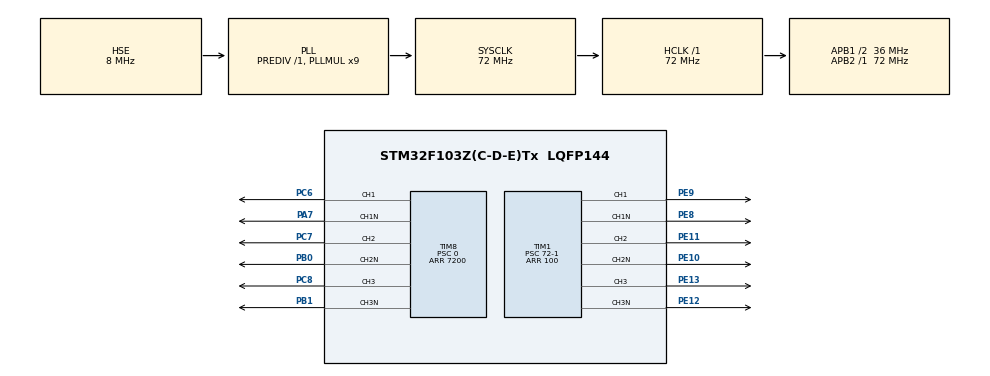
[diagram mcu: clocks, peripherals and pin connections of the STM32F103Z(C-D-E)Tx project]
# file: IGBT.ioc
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Mcu.Family=STM32F1
Mcu.Name=STM32F103Z(C-D-E)Tx
Mcu.Package=LQFP144
NVIC.PriorityGroup=NVIC_PRIORITYGROUP_4
NVIC.TIM8_UP_IRQn=true\:1\:0\:true\:false\:true\:true\:true
OSC_IN.Mode=HSE-External-Oscillator
OSC_IN.Signal=RCC_OSC_IN
OSC_OUT.Mode=HSE-External-Oscillator
OSC_OUT.Signal=RCC_OSC_OUT
PA13.Mode=Serial_Wire
PA13.Signal=SYS_JTMS-SWDIO
PA14.Mode=Serial_Wire
PA14.Signal=SYS_JTCK-SWCLK
PA7.GPIO_Speed=GPIO_SPEED_FREQ_HIGH
PA7.Mode=PWM Generation1 CH1 CH1N
PA7.Signal=TIM8_CH1N
PB0.GPIO_Speed=GPIO_SPEED_FREQ_HIGH
PB0.Mode=PWM Generation2 CH2 CH2N
PB0.Signal=TIM8_CH2N
PB1.GPIO_Speed=GPIO_SPEED_FREQ_HIGH
PB1.Mode=PWM Generation3 CH3 CH3N
PB1.Signal=TIM8_CH3N
PC6.GPIO_Speed=GPIO_SPEED_FREQ_HIGH
PC6.Signal=S_TIM8_CH1
PC7.GPIO_Speed=GPIO_SPEED_FREQ_HIGH
PC7.Signal=S_TIM8_CH2
PC8.GPIO_Speed=GPIO_SPEED_FREQ_HIGH
PC8.Signal=S_TIM8_CH3
PE10.GPIO_Speed=GPIO_SPEED_FREQ_HIGH
PE10.Mode=PWM Generation2 CH2 CH2N
PE10.Signal=TIM1_CH2N
PE11.GPIO_Speed=GPIO_SPEED_FREQ_HIGH
PE11.Signal=S_TIM1_CH2
PE12.GPIO_Speed=GPIO_SPEED_FREQ_HIGH
PE12.Mode=PWM Generation3 CH3 CH3N
PE12.Signal=TIM1_CH3N
PE13.GPIO_Speed=GPIO_SPEED_FREQ_HIGH
PE13.Signal=S_TIM1_CH3
PE8.GPIO_Speed=GPIO_SPEED_FREQ_HIGH
PE8.Mode=PWM Generation1 CH1 CH1N
PE8.Signal=TIM1_CH1N
PE9.GPIO_Speed=GPIO_SPEED_FREQ_HIGH
PE9.Signal=S_TIM1_CH1
ProjectManager.HeapSize=0x200
ProjectManager.StackSize=0x400
ProjectManager.TargetToolchain=SW4STM32
RCC.AHBFreq_Value=72000000
RCC.APB1CLKDivider=RCC_HCLK_DIV2
RCC.APB1Freq_Value=36000000
RCC.APB1TimFreq_Value=72000000
RCC.APB2Freq_Value=72000000
RCC.APB2TimFreq_Value=72000000
RCC.HCLKFreq_Value=72000000
RCC.PLLMUL=RCC_PLL_MUL9
RCC.PLLSourceVirtual=RCC_PLLSOURCE_HSE
RCC.SYSCLKFreq_VALUE=72000000
RCC.SYSCLKSource=RCC_SYSCLKSOURCE_PLLCLK
RCC.USBFreq_Value=72000000
SH.S_TIM1_CH1.0=TIM1_CH1,PWM Generation1 CH1 CH1N
SH.S_TIM1_CH2.0=TIM1_CH2,PWM Generation2 CH2 CH2N
SH.S_TIM1_CH3.0=TIM1_CH3,PWM Generation3 CH3 CH3N
SH.S_TIM8_CH1.0=TIM8_CH1,PWM Generation1 CH1 CH1N
SH.S_TIM8_CH2.0=TIM8_CH2,PWM Generation2 CH2 CH2N
SH.S_TIM8_CH3.0=TIM8_CH3,PWM Generation3 CH3 CH3N
TIM1.AutoReloadPreload=TIM_AUTORELOAD_PRELOAD_ENABLE
TIM1.Channel-PWM\ Generation1\ CH1\ CH1N=TIM_CHANNEL_1
TIM1.Channel-PWM\ Generation2\ CH2\ CH2N=TIM_CHANNEL_2
TIM1.Channel-PWM\ Generation3\ CH3\ CH3N=TIM_CHANNEL_3
TIM1.DeadTime=72
TIM1.Period=100
TIM1.Prescaler=72-1
TIM8.Channel-PWM\ Generation1\ CH1\ CH1N=TIM_CHANNEL_1
TIM8.Channel-PWM\ Generation2\ CH2\ CH2N=TIM_CHANNEL_2
TIM8.Channel-PWM\ Generation3\ CH3\ CH3N=TIM_CHANNEL_3
TIM8.CounterMode=TIM_COUNTERMODE_UP
TIM8.DeadTime=72
TIM8.Period=7200
TIM8.Prescaler=0
VP_TIM1_VS_ClockSourceINT.Mode=Internal
VP_TIM8_VS_ClockSourceINT.Mode=Internal
board=custom

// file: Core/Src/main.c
/* USER CODE BEGIN Header */
/**
  ******************************************************************************
  * @file           : main.c
  * @brief          : Main program body
  ******************************************************************************
  * @attention
  *
  * <h2><center>&copy; Copyright (c) 2022 STMicroelectronics.
  * All rights reserved.</center></h2>
  *
  * This software component is licensed by ST under BSD 3-Clause license,
  * the "License"; You may not use this file except in compliance with the
  * License. You may obtain a copy of the License at:
  *                        opensource.org/licenses/BSD-3-Clause
  *
  ******************************************************************************
  */
/* USER CODE END Header */
#include "main.h"
#include "tim.h"
#include "gpio.h"

/* USER CODE BEGIN PD */
#define Deadtime               140  //140  //防止占空比过大或过小，导致生成波形不连续，设置占空比死区时间
/* USER CODE END PD */

/* USER CODE BEGIN PV */
uint16_t SinTable[] = {3657, 3770, 3882, 3995, 4107, 4219, 4330, 4440, 4550, 4659, 4766, 4873, 4978, 5081, 5184, 5285,
                       5384, 5481, 5576, 5670, 5762, 5851, 5938, 6023, 6105, 6185, 6263, 6337, 6410, 6479, 6545, 6609,
                       6670, 6727, 6782, 6833, 6881, 6926, 6968, 7006, 7041, 7072, 7101, 7125, 7146, 7164, 7178, 7189,
                       7196, 7200, 7200, 7196, 7189, 7178, 7164, 7146, 7125, 7101, 7072, 7041, 7006, 6968, 6926, 6881,
                       6833, 6782, 6727, 6670, 6609, 6545, 6479, 6410, 6337, 6263, 6185, 6105, 6023, 5938, 5851, 5762,
                       5670, 5576, 5481, 5384, 5285, 5184, 5081, 4978, 4873, 4766, 4659, 4550, 4440, 4330, 4219, 4107,
                       3995, 3882, 3770, 3657, 3543, 3430, 3318, 3205, 3093, 2981, 2870, 2760, 2650, 2541, 2434, 2327,
                       2222, 2119, 2016, 1915, 1816, 1719, 1624, 1530, 1438, 1349, 1262, 1177, 1095, 1015, 937, 863,
                       790, 721, 655, 591, 530, 473, 418, 367, 319, 274, 232, 194, 159, 128, 99, 75, 54, 36, 22, 11, 4,
                       0, 0, 4, 11, 22, 36, 54, 75, 99, 128, 159, 194, 232, 274, 319, 367, 418, 473, 530, 591, 655, 721,
                       790, 863, 937, 1015, 1095, 1177, 1262, 1349, 1438, 1530, 1624, 1719, 1816, 1915, 2016, 2119,
                       2222, 2327, 2434, 2541, 2650, 2760, 2870, 2981, 3093, 3205, 3318, 3430, 3543
};

int32_t CCR1 = 0;
int32_t CCR2 = 0;
int32_t CCR3 = 0;

__IO uint16_t sin1TableIndex = 0;
__IO uint16_t sin2TableIndex = 67;  // 相位差120° 一个正弦周期是512个数据点,512/3 = 170.6 = 2π/3
__IO uint16_t sin3TableIndex = 133;  // 相位差120° 341 = (170.6*2)
/* USER CODE END PV */

void SystemClock_Config(void);

int main(void) {

    /* MCU Configuration--------------------------------------------------------*/

    /* Reset of all peripherals, Initializes the Flash interface and the Systick. */
    HAL_Init();

    /* Configure the system clock */
    SystemClock_Config();

    /* Initialize all configured peripherals */
    MX_GPIO_Init();
    MX_TIM1_Init();
    MX_TIM8_Init();
    /* USER CODE BEGIN 2 */

    HAL_TIM_Base_Start_IT(&htim8);
    HAL_TIM_PWM_Start(&htim8, TIM_CHANNEL_1);
    HAL_TIMEx_PWMN_Start(&htim8, TIM_CHANNEL_1);
    HAL_TIM_PWM_Start(&htim8, TIM_CHANNEL_2);
    HAL_TIMEx_PWMN_Start(&htim8, TIM_CHANNEL_2);
    HAL_TIM_PWM_Start(&htim8, TIM_CHANNEL_3);
    HAL_TIMEx_PWMN_Start(&htim8, TIM_CHANNEL_3);

    HAL_TIM_PWM_Start(&htim1, TIM_CHANNEL_1);
    HAL_TIMEx_PWMN_Start(&htim1, TIM_CHANNEL_1);
    HAL_TIM_PWM_Start(&htim1, TIM_CHANNEL_2);
    HAL_TIMEx_PWMN_Start(&htim1, TIM_CHANNEL_2);
    HAL_TIM_PWM_Start(&htim1, TIM_CHANNEL_3);
    HAL_TIMEx_PWMN_Start(&htim1, TIM_CHANNEL_3);

    /* USER CODE END 2 */

    /* Infinite loop */
    while (1) {

    }
}

void SystemClock_Config(void) {
    RCC_OscInitTypeDef RCC_OscInitStruct = {0};
    RCC_ClkInitTypeDef RCC_ClkInitStruct = {0};

    /** Initializes the RCC Oscillators according to the specified parameters
    * in the RCC_OscInitTypeDef structure.
    */
    RCC_OscInitStruct.OscillatorType = RCC_OSCILLATORTYPE_HSE;
    RCC_OscInitStruct.HSEState = RCC_HSE_ON;
    RCC_OscInitStruct.HSEPredivValue = RCC_HSE_PREDIV_DIV1;
    RCC_OscInitStruct.HSIState = RCC_HSI_ON;
    RCC_OscInitStruct.PLL.PLLState = RCC_PLL_ON;
    RCC_OscInitStruct.PLL.PLLSource = RCC_PLLSOURCE_HSE;
    RCC_OscInitStruct.PLL.PLLMUL = RCC_PLL_MUL9;
    if (HAL_RCC_OscConfig(&RCC_OscInitStruct) != HAL_OK) {
        Error_Handler();
    }
    /** Initializes the CPU, AHB and APB buses clocks
    */
    RCC_ClkInitStruct.ClockType = RCC_CLOCKTYPE_HCLK | RCC_CLOCKTYPE_SYSCLK
                                  | RCC_CLOCKTYPE_PCLK1 | RCC_CLOCKTYPE_PCLK2;
    RCC_ClkInitStruct.SYSCLKSource = RCC_SYSCLKSOURCE_PLLCLK;
    RCC_ClkInitStruct.AHBCLKDivider = RCC_SYSCLK_DIV1;
    RCC_ClkInitStruct.APB1CLKDivider = RCC_HCLK_DIV2;
    RCC_ClkInitStruct.APB2CLKDivider = RCC_HCLK_DIV1;

    if (HAL_RCC_ClockConfig(&RCC_ClkInitStruct, FLASH_LATENCY_2) != HAL_OK) {
        Error_Handler();
    }
}

/* USER CODE BEGIN 4 */

void HAL_TIM_PeriodElapsedCallback(TIM_HandleTypeDef *htim) {

    CCR1 = SinTable[sin1TableIndex];
    CCR2 = SinTable[sin2TableIndex];
    CCR3 = SinTable[sin3TableIndex];

    if (CCR1 < Deadtime) {
        CCR1 = Deadtime;
    } else if (CCR1 > (7200 - Deadtime)) {
        CCR1 = 7200 - Deadtime;
    }
    if (CCR2 < Deadtime) {
        CCR2 = Deadtime;
    } else if (CCR2 > (7200 - Deadtime)) {
        CCR2 = 7200 - Deadtime;
    }
    if (CCR3 < Deadtime) {
        CCR3 = Deadtime;
    } else if (CCR3 > (7200 - Deadtime)) {
        CCR3 = 7200 - Deadtime;
    }

            __HAL_TIM_SetCompare(htim, TIM_CHANNEL_1, (uint16_t) CCR1);
            __HAL_TIM_SetCompare(htim, TIM_CHANNEL_2, (uint16_t) CCR2);
            __HAL_TIM_SetCompare(htim, TIM_CHANNEL_3, (uint16_t) CCR3);
    sin1TableIndex++;
    sin2TableIndex++;
    sin3TableIndex++;

    if (sin1TableIndex >= 200)
        sin1TableIndex = 0;
    if (sin2TableIndex >= 200)
        sin2TableIndex = 0;
    if (sin3TableIndex >= 200)
        sin3TableIndex = 0;
}
/* USER CODE END 4 */

void Error_Handler(void) {
    __disable_irq();
    while (1) {
    }
}

/************************ (C) COPYRIGHT STMicroelectronics *****END OF FILE****/
